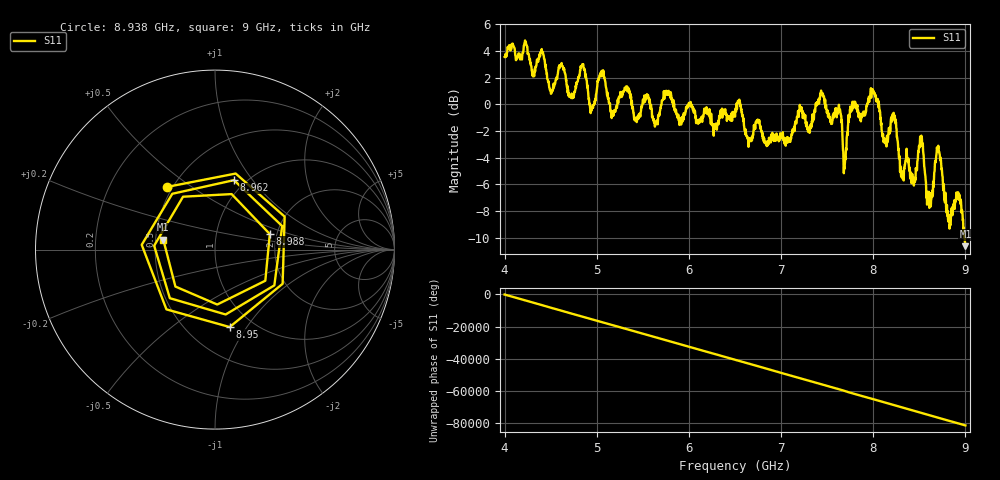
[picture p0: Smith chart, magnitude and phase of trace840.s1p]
! Created with skrf 1.8.0 (http://scikit-rf.org).
# Hz S RI R 50.0
!freq ReS11 ImS11
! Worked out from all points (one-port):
!   1601 points, 4 GHz to 9 GHz, reference 50 ohm
!   lowest |S11| = -10.6 dB at 9 GHz (marker M1), VSWR 1.83, Z = 27.5 + j3.36 ohm
!   |S11| at or under -10 dB: 8.992691 GHz to end of sweep
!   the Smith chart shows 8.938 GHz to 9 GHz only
!   S11 on the Smith chart (normalised r, x): 8.938 GHz: 0.46, +0.40; 8.95 GHz: 0.78, -0.84; 8.962 GHz: 0.88, +0.81; 8.988 GHz: 1.84, +0.35; 9 GHz: 0.55, +0.07
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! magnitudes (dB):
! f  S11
! 4 GHz  3.5
! 4.406 GHz  3.9
! 4.509 GHz  0.8
! 4.625 GHz  2.9
! 4.725 GHz  0.6
! 4.847 GHz  2.9
! 4.944 GHz  -0.4
! 5.05 GHz  2.4
! 5.25 GHz  0.5
! 5.875 GHz  -1.0
! 6.5 GHz  -0.9
! 7.125 GHz  -1.9
! 7.441 GHz  0.8
! 7.638 GHz  -0.4
! 7.691 GHz  -4.5
! 7.75 GHz  -0.4
! 8 GHz  1.0
! 8.119 GHz  -2.7
! 8.375 GHz  -4.3
! 8.522 GHz  -2.4
! 8.609 GHz  -7.8
! 8.709 GHz  -3.4
! 8.816 GHz  -8.8
! 8.938 GHz  -7.1
! 8.95 GHz  -7.1
! 8.962 GHz  -7.9
! 8.988 GHz  -10.0
! 9 GHz  -10.6
